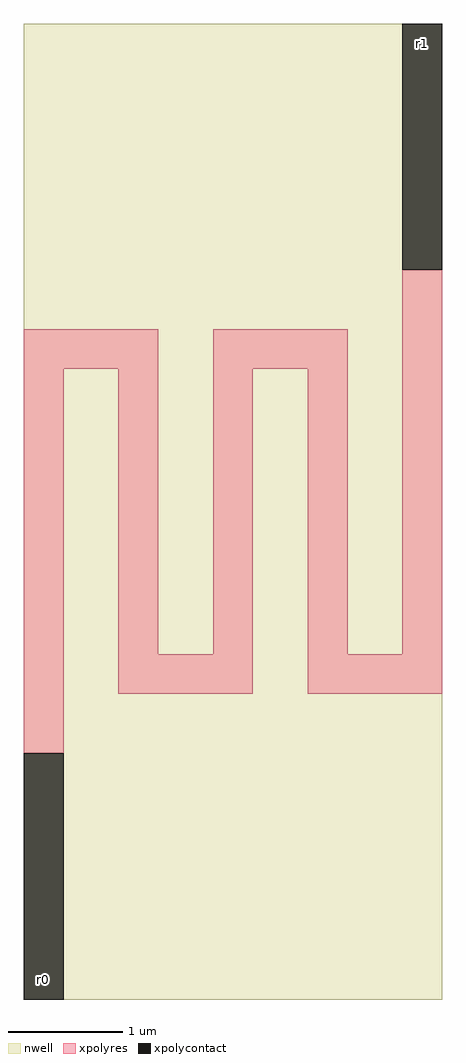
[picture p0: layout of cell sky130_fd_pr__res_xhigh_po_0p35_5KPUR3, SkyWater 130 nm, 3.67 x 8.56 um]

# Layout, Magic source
magic
tech sky130A
magscale 1 2
<< nwell >>
rect -367 -856 367 856
<< xpolycontact >>
rect 297 424 367 856
rect -367 -856 -297 -424
<< xpolyres >>
rect -367 250 -131 320
rect -367 -424 -297 250
rect -201 -250 -131 250
rect -35 250 201 320
rect -35 -250 35 250
rect -201 -320 35 -250
rect 131 -250 201 250
rect 297 -250 367 424
rect 131 -320 367 -250
<< labels >>
flabel xpolycontact -332 -821 -332 -821 0 FreeSans 80 0 0 0 r0
flabel xpolycontact 332 821 332 821 0 FreeSans 80 0 0 0 r1
<< properties >>
string gencell sky130_fd_pr__res_xhigh_po_0p35
string library sky130
string parameters w 0.35 l 3.2 m 1 nx 5 wmin 0.350 lmin 0.50 rho 2000 val 100.504k dummy 0 dw 0.0 term 188.2 sterm 0.0 caplen 0 wmax 0.350 guard 0 glc 0 grc 0 gtc 0 gbc 0 compatible {sky130_fd_pr__res_xhigh_po_0p35  sky130_fd_pr__res_xhigh_po_0p69 sky130_fd_pr__res_xhigh_po_1p41  sky130_fd_pr__res_xhigh_po_2p85 sky130_fd_pr__res_xhigh_po_5p73} snake 1 full_metal 0 n_guard 0 hv_guard 0 vias 1 viagb 0 viagt 0 viagl 0 viagr 0
<< end >>
